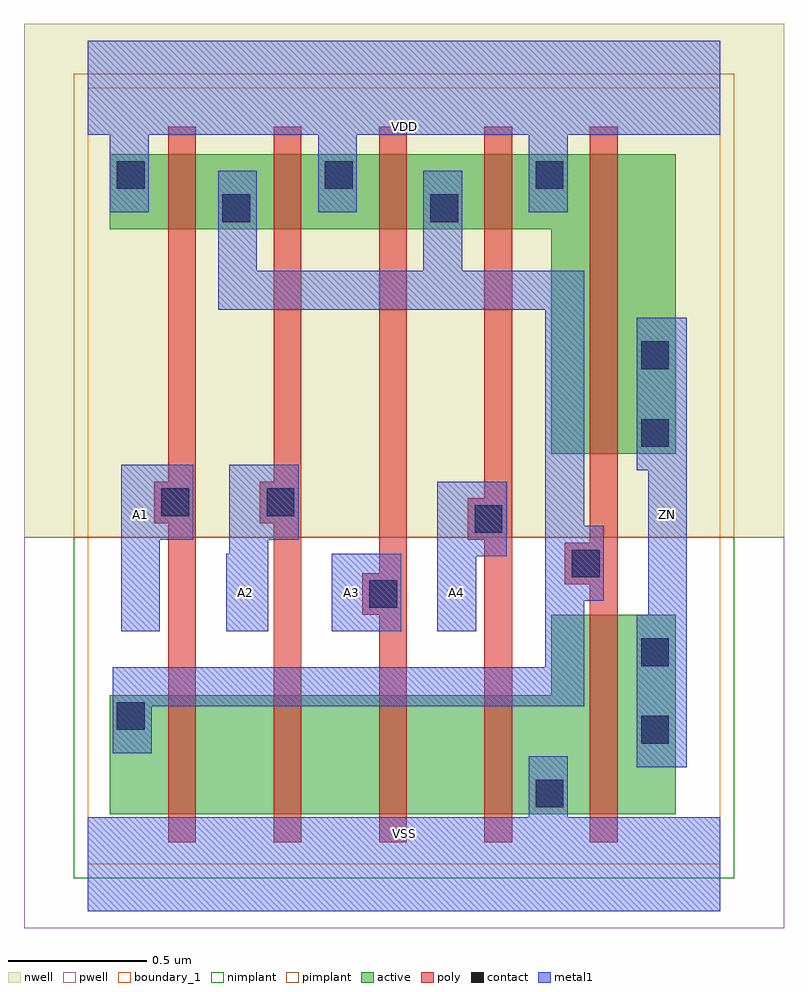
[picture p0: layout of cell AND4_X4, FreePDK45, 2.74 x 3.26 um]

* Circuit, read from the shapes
.subckt AND4_X4 A1 A2 A3 A4 VDD VSS ZN
M1 n1 A1 n2 VSUBS nfet w=0.43u l=0.1u
M2 n3 A2 n1 VSUBS nfet w=0.43u l=0.1u
M3 n4 A3 n3 VSUBS nfet w=0.43u l=0.1u
M4 VSS A4 n4 VSUBS nfet w=0.43u l=0.1u
M5 ZN n2 VSS VSUBS nfet w=0.72u l=0.1u
M6 n2 A1 VDD n5 pfet w=0.27u l=0.1u
M7 VDD A2 n2 n5 pfet w=0.27u l=0.1u
M8 n2 A3 VDD n5 pfet w=0.27u l=0.1u
M9 VDD A4 n2 n5 pfet w=0.27u l=0.1u
M10 ZN n2 VDD n5 pfet w=1.08u l=0.1u
.ends

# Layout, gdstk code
import gdstk
lib = gdstk.Library(unit=1e-6, precision=1e-09)
def R(c, l, rs):  # rectangles x0, y0, x1, y1
    for r in rs: c.add(gdstk.rectangle(r[:2], r[2:], *l))
def P(c, l, *ps):  # polygons
    for p in ps: c.add(gdstk.Polygon(p, *l))
active = (1, 0)
pwell = (2, 0)
nwell = (3, 0)
nimplant = (4, 0)
pimplant = (5, 0)
poly = (9, 0)
contact = (10, 0)
metal1 = (11, 0)
boundary_1 = (235, 1)

and4_x4 = lib.new_cell('AND4_X4')
P(and4_x4, active, [(0.08,2.29),(1.67,2.29),(1.67,1.48),(2.12,1.48),(2.12,2.56),(0.08,2.56)],
  [(0.08,0.18),(2.12,0.18),(2.12,0.9),(1.67,0.9),(1.67,0.61),(0.08,0.61)])
R(and4_x4, pwell, [(-0.23,-0.23,2.51,1.18)])
R(and4_x4, nwell, [(-0.23,1.18,2.51,3.03)])
R(and4_x4, nimplant, [(-0.05,-0.05,2.33,1.18)])
R(and4_x4, pimplant, [(-0.05,1.18,2.33,2.85)])
P(and4_x4, poly, [(1.72,1.01),(1.81,1.01),(1.81,0.08),(1.91,0.08),(1.91,2.66),(1.81,2.66),(1.81,1.16),(1.72,1.16)],
  [(1.37,1.17),(1.43,1.17),(1.43,0.08),(1.53,0.08),(1.53,2.66),(1.43,2.66),(1.43,1.32),(1.37,1.32)],
  [(0.99,0.9),(1.05,0.9),(1.05,0.08),(1.15,0.08),(1.15,2.66),(1.05,2.66),(1.05,1.05),(0.99,1.05)],
  [(0.62,1.23),(0.67,1.23),(0.67,0.08),(0.77,0.08),(0.77,2.66),(0.67,2.66),(0.67,1.38),(0.62,1.38)],
  [(0.24,1.23),(0.29,1.23),(0.29,0.08),(0.39,0.08),(0.39,2.66),(0.29,2.66),(0.29,1.38),(0.24,1.38)])
R(and4_x4, contact, [(1.615,0.205,1.715,0.305), (1.995,0.435,2.095,0.535), (0.105,0.485,0.205,0.585), (1.995,0.715,2.095,0.815), (1.015,0.925,1.115,1.025), (1.745,1.035,1.845,1.135), (1.395,1.195,1.495,1.295), (0.265,1.255,0.365,1.355), (0.645,1.255,0.745,1.355), (1.995,1.505,2.095,1.605), (1.995,1.785,2.095,1.885), (0.485,2.315,0.585,2.415), (1.235,2.315,1.335,2.415), (0.105,2.435,0.205,2.535), (0.855,2.435,0.955,2.535), (1.615,2.435,1.715,2.535)])
R(and4_x4, metal1, [(0.88,0.84,1.13,1.12), (0.88,0.84,1.13,1.12)])
P(and4_x4, metal1, [(1.98,1.42),(2.02,1.42),(2.02,0.9),(1.98,0.9),(1.98,0.35),(2.16,0.35),(2.16,1.97),(1.98,1.97)],
  [(1.26,0.84),(1.4,0.84),(1.4,1.11),(1.51,1.11),(1.51,1.38),(1.26,1.38)],
  [(0.5,0.84),(0.65,0.84),(0.65,1.17),(0.76,1.17),(0.76,1.44),(0.51,1.44),(0.51,1.12),(0.5,1.12)],
  [(0,-0.17),(2.28,-0.17),(2.28,0.17),(1.73,0.17),(1.73,0.39),(1.59,0.39),(1.59,0.17),(0,0.17)],
  [(0.12,0.84),(0.26,0.84),(0.26,1.17),(0.38,1.17),(0.38,1.44),(0.12,1.44)],
  [(0,2.63),(0.08,2.63),(0.08,2.35),(0.22,2.35),(0.22,2.63),(0.83,2.63),(0.83,2.35),(0.97,2.35),(0.97,2.63),(1.59,2.63),(1.59,2.35),(1.73,2.35),(1.73,2.63),(2.28,2.63),(2.28,2.97),(0,2.97)],
  [(0,2.63),(0.08,2.63),(0.08,2.35),(0.22,2.35),(0.22,2.63),(0.83,2.63),(0.83,2.35),(0.97,2.35),(0.97,2.63),(1.59,2.63),(1.59,2.35),(1.73,2.35),(1.73,2.63),(2.28,2.63),(2.28,2.97),(0,2.97)],
  [(0,-0.17),(2.28,-0.17),(2.28,0.17),(1.73,0.17),(1.73,0.39),(1.59,0.39),(1.59,0.17),(0,0.17)],
  [(1.98,1.42),(2.02,1.42),(2.02,0.9),(1.98,0.9),(1.98,0.35),(2.16,0.35),(2.16,1.97),(1.98,1.97)],
  [(0.47,2),(1.65,2),(1.65,0.71),(0.09,0.71),(0.09,0.4),(0.23,0.4),(0.23,0.57),(1.79,0.57),(1.79,0.95),(1.86,0.95),(1.86,1.22),(1.79,1.22),(1.79,2.14),(1.35,2.14),(1.35,2.5),(1.21,2.5),(1.21,2.14),(0.61,2.14),(0.61,2.5),(0.47,2.5)],
  [(1.26,0.84),(1.4,0.84),(1.4,1.11),(1.51,1.11),(1.51,1.38),(1.26,1.38)],
  [(0.5,0.84),(0.65,0.84),(0.65,1.17),(0.76,1.17),(0.76,1.44),(0.51,1.44),(0.51,1.12),(0.5,1.12)],
  [(0.12,0.84),(0.26,0.84),(0.26,1.17),(0.38,1.17),(0.38,1.44),(0.12,1.44)])
R(and4_x4, boundary_1, [(0,0,2.28,2.8)])
and4_x4.add(gdstk.Label('ZN', (2.09,1.26), layer=11, texttype=0))
and4_x4.add(gdstk.Label('VSS', (1.14,0.11), layer=11, texttype=0))
and4_x4.add(gdstk.Label('VDD', (1.14,2.66), layer=11, texttype=0))
and4_x4.add(gdstk.Label('A4', (1.33,0.98), layer=11, texttype=0))
and4_x4.add(gdstk.Label('A3', (0.95,0.98), layer=11, texttype=0))
and4_x4.add(gdstk.Label('A2', (0.57,0.98), layer=11, texttype=0))
and4_x4.add(gdstk.Label('A1', (0.19,1.26), layer=11, texttype=0))

lib.write_gds('AND4_X4.gds')
